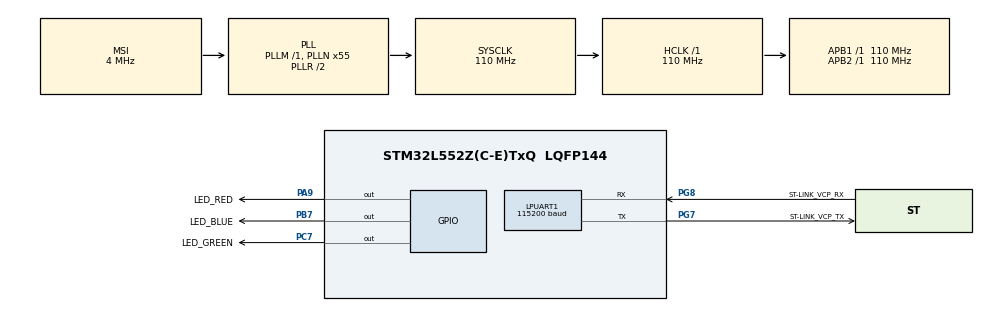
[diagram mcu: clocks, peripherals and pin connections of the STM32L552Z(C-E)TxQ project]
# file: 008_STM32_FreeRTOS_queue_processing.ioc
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LPUART1.BaudRate=115200
Mcu.Family=STM32L5
Mcu.Name=STM32L552Z(C-E)TxQ
Mcu.Package=LQFP144
Mcu.TrustZone=disable
NVIC.LPUART1_IRQn=true\:0\:0\:false\:false\:true\:true\:true
NVIC.PriorityGroup=NVIC_PRIORITYGROUP_3
PA13\ (JTMS/SWDIO).Mode=Trace_Asynchronous_SW
PA13\ (JTMS/SWDIO).Signal=DEBUG_JTMS-SWDIO
PA14\ (JTCK/SWCLK).Mode=Trace_Asynchronous_SW
PA14\ (JTCK/SWCLK).Signal=DEBUG_JTCK-SWCLK
PA9.GPIO_Label=LED_RED
PA9.Signal=GPIO_Output
PB3\ (JTDO/TRACESWO).Mode=Trace_Asynchronous_SW
PB3\ (JTDO/TRACESWO).Signal=DEBUG_JTDO-SWO
PB7.GPIO_Label=LED_BLUE
PB7.Signal=GPIO_Output
PC14-OSC32_IN\ (PC14).Mode=LSE-External-Oscillator
PC14-OSC32_IN\ (PC14).Signal=RCC_OSC32_IN
PC15-OSC32_OUT\ (PC15).Mode=LSE-External-Oscillator
PC15-OSC32_OUT\ (PC15).Signal=RCC_OSC32_OUT
PC7.GPIO_Label=LED_GREEN
PC7.Signal=GPIO_Output
PG7.GPIO_Label=ST-LINK_VCP_TX
PG7.Mode=Asynchronous
PG7.Signal=LPUART1_TX
PG8.GPIO_Label=ST-LINK_VCP_RX
PG8.Mode=Asynchronous
PG8.Signal=LPUART1_RX
ProjectManager.HeapSize=0x200
ProjectManager.StackSize=0x400
ProjectManager.TargetToolchain=STM32CubeIDE
RCC.ADCCLockSelection=RCC_ADCCLKSOURCE_SYSCLK
RCC.ADCFreq_Value=110000000
RCC.AHBFreq_Value=110000000
RCC.APB1Freq_Value=110000000
RCC.APB1TimFreq_Value=110000000
RCC.APB2Freq_Value=110000000
RCC.APB2TimFreq_Value=110000000
RCC.CK48CLockSelection=RCC_USBCLKSOURCE_HSI48
RCC.CortexFreq_Value=110000000
RCC.HCLKFreq_Value=110000000
RCC.HSE_VALUE=8000000
RCC.HSI48_VALUE=48000000
RCC.HSI_VALUE=16000000
RCC.MSI_VALUE=4000000
RCC.PLLN=55
RCC.PLLSAI1N=24
RCC.RTCClockSelection=RCC_RTCCLKSOURCE_LSE
RCC.SYSCLKFreq_VALUE=110000000
RCC.SYSCLKSource=RCC_SYSCLKSOURCE_PLLCLK
RCC.USBFreq_Value=48000000
RCC.VCOOutputFreq_Value=220000000
VP_PWR_VS_DBSignals.Mode=DisableDeadBatterySignals
VP_PWR_VS_SECSignals.Mode=Security/Privilege
VP_RTC_VS_RTC_Activate.Mode=RTC_Enabled
board=NUCLEO-L552ZE-Q

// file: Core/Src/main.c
/* USER CODE BEGIN Header */
/**
 ******************************************************************************
 * @file           : main.c
 * @brief          : Example 008: Queue Processing in FreeRTOS for NUCLEO-L552.
 *
 * @details FreeRTOS application which implements the below commands
 *          LED_ON,
 *          LED_OFF,
 *          LED_TOGGLE_START
 *          LED_TOGGLE_STOP
 *          LED_STATUS_READ
 *          RTC_DATETIME_READ
 *
 *          The command is sent to the board via UART from the user.
 ******************************************************************************
 * @attention
 *
 * <h2><center>&copy; Copyright 2021 Leandro Medus.
 * All rights reserved.</center></h2>
 *
 * Permission is hereby granted, free of charge, to any person obtaining a copy
 * of this software and associated documentation files (the "Software"), to deal
 * in the Software without restriction, including without limitation the rights
 * to use, copy, modify, merge, publish, distribute, sublicense, and/or sell
 * copies of the Software, and to permit persons to whom the Software is
 * furnished to do so, subject to the following conditions:
 *
 * The above copyright notice and this permission notice shall be included in all
 * copies or substantial portions of the Software.
 *
 * THE SOFTWARE IS PROVIDED "AS IS", WITHOUT WARRANTY OF ANY KIND, EXPRESS OR
 * IMPLIED, INCLUDING BUT NOT LIMITED TO THE WARRANTIES OF MERCHANTABILITY,
 * FITNESS FOR A PARTICULAR PURPOSE AND NONINFRINGEMENT. IN NO EVENT SHALL THE
 * AUTHORS OR COPYRIGHT HOLDERS BE LIABLE FOR ANY CLAIM, DAMAGES OR OTHER
 * LIABILITY, WHETHER IN AN ACTION OF CONTRACT, TORT OR OTHERWISE, ARISING FROM,
 * OUT OF OR IN CONNECTION WITH THE SOFTWARE OR THE USE OR OTHER DEALINGS IN THE
 * SOFTWARE.
 *
 ******************************************************************************
 */

/*
 * Other useful functions:
 *
 *      SEGGER_SYSVIEW_PrintfTarget("Task-1 is yielding");
 *      snprintf(msg, 100, "%s\n", (char*)parameters);
 *      sendString(msg);
 *      traceISR_ENTER();
 *      traceISR_EXIT();
 *      traceISR_EXIT_TO_SCHEDULER();
 *      taskYIELD();

 * */

/* USER CODE END Header */
#include "main.h"

/* USER CODE BEGIN Includes */
#include "FreeRTOS.h"
#include "task.h"
#include "queue.h"
#include "timers.h"

#include <stdio.h>
#include <string.h>
//#include <stdbool.h>
/* USER CODE END Includes */

/* USER CODE BEGIN PTD */
#define TRUE                1
#define FALSE               0

#define AVAILABLE           TRUE
#define NOT_AVAILABLE       FALSE

#define PRESSED             TRUE
#define NOT_PRESSED         FALSE

// App commands
#define LED_ON_COMMAND              1
#define LED_OFF_COMMAND             2
#define LED_TOGGLE_COMMAND          3
#define LED_TOGGLE_STOP_COMMAND     4
#define LED_READ_STATUS_COMMAND     5
#define RTC_READ_DATE_TIME_COMMAND  6
#define EXIT_CMD                    0

#define BUFFER_CMD_SIZE             20

#define DEBOUNCE_DELAY_MS   10

#define DWT_CTRL    (*(volatile uint32_t*)0xE0001000)       /* Data Watchpoint and Trace Unit */
/* USER CODE END PTD */

UART_HandleTypeDef hlpuart1;

RTC_HandleTypeDef hrtc;

/* USER CODE BEGIN PV */

char usr_msg[250] = {0};

uint8_t UART_ACCESS_KEY = AVAILABLE;
uint8_t button_status_flag = NOT_PRESSED;

// task handles
TaskHandle_t xTask_menu_dislpay_handle = NULL;
TaskHandle_t xTask_cmd_handling_handle = NULL;
TaskHandle_t xTask_cmd_processing_handle = NULL;
TaskHandle_t xTask_uart_write_handle = NULL;

// Queue handle
QueueHandle_t command_queue = NULL;
QueueHandle_t uart_write_queue = NULL;

// Software timer handler
TimerHandle_t led_timer_handle = NULL;

// Command structure
typedef struct APP_CMD
{
    uint8_t COMMAND_NUM;            // command number of the user
    uint8_t COMMAND_ARGS[10];       // associated argument
}APP_CMD_t;

uint8_t command_buffer[BUFFER_CMD_SIZE];
uint8_t command_len = 0;

//This is the menu
char menu[]={"\
\r\nLED_ON             ----> 1 \
\r\nLED_OFF            ----> 2 \
\r\nLED_TOGGLE         ----> 3 \
\r\nLED_TOGGLE_OFF     ----> 4 \
\r\nLED_READ_STATUS    ----> 5 \
\r\nRTC_PRINT_DATETIME ----> 6 \
\r\nEXIT_APP           ----> 0 \
\r\nType your option here : "};

/* USER CODE END PV */

void SystemClock_Config(void);
static void MX_GPIO_Init(void);
static void MX_LPUART1_UART_Init(void);
static void MX_RTC_Init(void);
/* USER CODE BEGIN PFP */

void sendString(char *msg);
static void vtask_1_menu_display(void* parameters);
static void vtask_2_cmd_handling(void* parameters);
static void vtask_3_cmd_processing(void * parameters);
static void vtask_4_uart_write(void * parameters);
static uint8_t getCommandCode(uint8_t *buffer);
static void getArguments(uint8_t *buffer);

// helper functions
void make_led_on(void);
void make_led_off(void);
void read_led_status(char *task_msg);
void led_toggle_start(uint32_t duration);
void led_toggle_stop(void);
void read_rtc_info(char *task_msg);
void print_error_message(char *task_msg);

/* USER CODE END PFP */

int main(void)
{
    /* USER CODE BEGIN 1 */
    BaseType_t status;

    char msg_program_init [] = "[info] ---- Example 008: Queue Processing in FreeRTOS for NUCLEO-L552. ----\r\n";

    /* USER CODE END 1 */

    /* MCU Configuration--------------------------------------------------------*/

    /* Reset of all peripherals, Initializes the Flash interface and the Systick. */
    HAL_Init();

    /* Configure the system clock */
    SystemClock_Config();

    /* Initialize all configured peripherals */
    MX_GPIO_Init();
    MX_LPUART1_UART_Init();
    MX_RTC_Init();
    /* USER CODE BEGIN 2 */

    DWT_CTRL |= ( 1 << 0);                      // Enable the CYCCNT counter. (to maintain time stamps in Segger)

    sendString(msg_program_init);

    SEGGER_SYSVIEW_Conf();

    SEGGER_SYSVIEW_Start();                     // Start recording with SEGGER

    status = xTaskCreate(
            vtask_1_menu_display,               // name of the task handler
            "TASK-1-MENU",                      // descriptive name. (Could be NULL)
            configMINIMAL_STACK_SIZE,           // stack space ([words] = 4*words [bytes])
            "Task-1 [info]",                    // pvParameters
            1,                                  // priority of the task
            &xTask_menu_dislpay_handle);               // handler to the TCB (task controller block)

    configASSERT(status == pdPASS);

    status = xTaskCreate(
            vtask_2_cmd_handling,
            "TASK-2-CMD-HANDLING",
            configMINIMAL_STACK_SIZE,
            "Task-2 [info]",
            2,
            &xTask_cmd_handling_handle);

    configASSERT(status == pdPASS);

    status = xTaskCreate(
            vtask_3_cmd_processing,
            "TASK-3-CMD-PROCESS",
            configMINIMAL_STACK_SIZE,
            "Task-3 [info]",
            2,
            &xTask_cmd_processing_handle);

    configASSERT(status == pdPASS);

    status = xTaskCreate(
            vtask_4_uart_write,
            "TASK-4-UART-WRITE",
            configMINIMAL_STACK_SIZE,
            "Task-4 [info]",
            2,
            &xTask_uart_write_handle);

    configASSERT(status == pdPASS);

    // Command Queue
    command_queue = xQueueCreate( 10, sizeof(APP_CMD_t *));     // a memory pointer is 4 bytes = 40 bytes instead 110

    // Write Queue
    uart_write_queue = xQueueCreate( 10, sizeof(char *));          // we only need only the staring addr of the msg

    if(command_queue != NULL && uart_write_queue != NULL)
    {
        vTaskStartScheduler();                  // start the freeRTOS scheduler
    }
    else
    {
        sprintf(usr_msg,"Queue creation failed\r\n");
        sendString(usr_msg);
    }

    /* USER CODE END 2 */

    /* Infinite loop */
    /* USER CODE BEGIN WHILE */
    while (1)
    {
        /* Execution must not reach this point */

        /* USER CODE END WHILE */

    }
}

void SystemClock_Config(void)
{
    RCC_OscInitTypeDef RCC_OscInitStruct = {0};
    RCC_ClkInitTypeDef RCC_ClkInitStruct = {0};

    /** Configure the main internal regulator output voltage
     */
    if (HAL_PWREx_ControlVoltageScaling(PWR_REGULATOR_VOLTAGE_SCALE0) != HAL_OK)
    {
        Error_Handler();
    }
    /** Configure LSE Drive Capability
     */
    HAL_PWR_EnableBkUpAccess();
    __HAL_RCC_LSEDRIVE_CONFIG(RCC_LSEDRIVE_LOW);
    /** Initializes the RCC Oscillators according to the specified parameters
     * in the RCC_OscInitTypeDef structure.
     */
    RCC_OscInitStruct.OscillatorType = RCC_OSCILLATORTYPE_LSE|RCC_OSCILLATORTYPE_MSI;
    RCC_OscInitStruct.LSEState = RCC_LSE_ON;
    RCC_OscInitStruct.MSIState = RCC_MSI_ON;
    RCC_OscInitStruct.MSICalibrationValue = RCC_MSICALIBRATION_DEFAULT;
    RCC_OscInitStruct.MSIClockRange = RCC_MSIRANGE_6;
    RCC_OscInitStruct.PLL.PLLState = RCC_PLL_ON;
    RCC_OscInitStruct.PLL.PLLSource = RCC_PLLSOURCE_MSI;
    RCC_OscInitStruct.PLL.PLLM = 1;
    RCC_OscInitStruct.PLL.PLLN = 55;
    RCC_OscInitStruct.PLL.PLLP = RCC_PLLP_DIV7;
    RCC_OscInitStruct.PLL.PLLQ = RCC_PLLQ_DIV2;
    RCC_OscInitStruct.PLL.PLLR = RCC_PLLR_DIV2;
    if (HAL_RCC_OscConfig(&RCC_OscInitStruct) != HAL_OK)
    {
        Error_Handler();
    }
    /** Initializes the CPU, AHB and APB buses clocks
     */
    RCC_ClkInitStruct.ClockType = RCC_CLOCKTYPE_HCLK|RCC_CLOCKTYPE_SYSCLK
            |RCC_CLOCKTYPE_PCLK1|RCC_CLOCKTYPE_PCLK2;
    RCC_ClkInitStruct.SYSCLKSource = RCC_SYSCLKSOURCE_PLLCLK;
    RCC_ClkInitStruct.AHBCLKDivider = RCC_SYSCLK_DIV1;
    RCC_ClkInitStruct.APB1CLKDivider = RCC_HCLK_DIV1;
    RCC_ClkInitStruct.APB2CLKDivider = RCC_HCLK_DIV1;

    if (HAL_RCC_ClockConfig(&RCC_ClkInitStruct, FLASH_LATENCY_5) != HAL_OK)
    {
        Error_Handler();
    }
}

static void MX_LPUART1_UART_Init(void)
{

    hlpuart1.Instance = LPUART1;
    hlpuart1.Init.BaudRate = 115200;
    hlpuart1.Init.WordLength = UART_WORDLENGTH_8B;
    hlpuart1.Init.StopBits = UART_STOPBITS_1;
    hlpuart1.Init.Parity = UART_PARITY_NONE;
    hlpuart1.Init.Mode = UART_MODE_TX_RX;
    hlpuart1.Init.HwFlowCtl = UART_HWCONTROL_NONE;
    hlpuart1.Init.OneBitSampling = UART_ONE_BIT_SAMPLE_DISABLE;
    hlpuart1.Init.ClockPrescaler = UART_PRESCALER_DIV1;
    hlpuart1.AdvancedInit.AdvFeatureInit = UART_ADVFEATURE_NO_INIT;
    hlpuart1.FifoMode = UART_FIFOMODE_DISABLE;
    if (HAL_UART_Init(&hlpuart1) != HAL_OK)
    {
        Error_Handler();
    }
    if (HAL_UARTEx_SetTxFifoThreshold(&hlpuart1, UART_TXFIFO_THRESHOLD_1_8) != HAL_OK)
    {
        Error_Handler();
    }
    if (HAL_UARTEx_SetRxFifoThreshold(&hlpuart1, UART_RXFIFO_THRESHOLD_1_8) != HAL_OK)
    {
        Error_Handler();
    }
    if (HAL_UARTEx_DisableFifoMode(&hlpuart1) != HAL_OK)
    {
        Error_Handler();
    }
    /* USER CODE BEGIN LPUART1_Init 2 */

    // enabling interrupt for the flag
    __HAL_UART_ENABLE_IT(&hlpuart1, UART_IT_RXNE);

    /* USER CODE END LPUART1_Init 2 */

}

static void MX_RTC_Init(void)
{

    RTC_PrivilegeStateTypeDef privilegeState = {0};

    /** Initialize RTC Only
     */
    hrtc.Instance = RTC;
    hrtc.Init.HourFormat = RTC_HOURFORMAT_24;
    hrtc.Init.AsynchPrediv = 127;
    hrtc.Init.SynchPrediv = 255;
    hrtc.Init.OutPut = RTC_OUTPUT_DISABLE;
    hrtc.Init.OutPutRemap = RTC_OUTPUT_REMAP_NONE;
    hrtc.Init.OutPutPolarity = RTC_OUTPUT_POLARITY_HIGH;
    hrtc.Init.OutPutType = RTC_OUTPUT_TYPE_OPENDRAIN;
    hrtc.Init.OutPutPullUp = RTC_OUTPUT_PULLUP_NONE;
    if (HAL_RTC_Init(&hrtc) != HAL_OK)
    {
        Error_Handler();
    }
    privilegeState.rtcPrivilegeFull = RTC_PRIVILEGE_FULL_NO;
    privilegeState.backupRegisterPrivZone = RTC_PRIVILEGE_BKUP_ZONE_NONE;
    privilegeState.backupRegisterStartZone2 = RTC_BKP_DR0;
    privilegeState.backupRegisterStartZone3 = RTC_BKP_DR0;
    if (HAL_RTCEx_PrivilegeModeSet(&hrtc, &privilegeState) != HAL_OK)
    {
        Error_Handler();
    }

}

static void MX_GPIO_Init(void)
{
    GPIO_InitTypeDef GPIO_InitStruct = {0};

    /* GPIO Ports Clock Enable */
    __HAL_RCC_GPIOC_CLK_ENABLE();
    __HAL_RCC_GPIOG_CLK_ENABLE();
    HAL_PWREx_EnableVddIO2();
    __HAL_RCC_GPIOA_CLK_ENABLE();
    __HAL_RCC_GPIOB_CLK_ENABLE();

    /*Configure GPIO pin Output Level */
    HAL_GPIO_WritePin(LED_GREEN_GPIO_Port, LED_GREEN_Pin, GPIO_PIN_RESET);

    /*Configure GPIO pin Output Level */
    HAL_GPIO_WritePin(LED_RED_GPIO_Port, LED_RED_Pin, GPIO_PIN_RESET);

    /*Configure GPIO pin Output Level */
    HAL_GPIO_WritePin(LED_BLUE_GPIO_Port, LED_BLUE_Pin, GPIO_PIN_RESET);

    /*Configure GPIO pin : LED_GREEN_Pin */
    GPIO_InitStruct.Pin = LED_GREEN_Pin;
    GPIO_InitStruct.Mode = GPIO_MODE_OUTPUT_PP;
    GPIO_InitStruct.Pull = GPIO_NOPULL;
    GPIO_InitStruct.Speed = GPIO_SPEED_FREQ_LOW;
    HAL_GPIO_Init(LED_GREEN_GPIO_Port, &GPIO_InitStruct);

    /*Configure GPIO pin : LED_RED_Pin */
    GPIO_InitStruct.Pin = LED_RED_Pin;
    GPIO_InitStruct.Mode = GPIO_MODE_OUTPUT_PP;
    GPIO_InitStruct.Pull = GPIO_NOPULL;
    GPIO_InitStruct.Speed = GPIO_SPEED_FREQ_LOW;
    HAL_GPIO_Init(LED_RED_GPIO_Port, &GPIO_InitStruct);

    /*Configure GPIO pin : LED_BLUE_Pin */
    GPIO_InitStruct.Pin = LED_BLUE_Pin;
    GPIO_InitStruct.Mode = GPIO_MODE_OUTPUT_PP;
    GPIO_InitStruct.Pull = GPIO_NOPULL;
    GPIO_InitStruct.Speed = GPIO_SPEED_FREQ_LOW;
    HAL_GPIO_Init(LED_BLUE_GPIO_Port, &GPIO_InitStruct);

}

/* USER CODE BEGIN 4 */

/* --------------------------------------------------------------------------*/

/**
 * @brief  This function send a string using the UART
 * @retval None
 */
void sendString(char *msg)
{
    sprintf(usr_msg, msg);

    // sending a string
    HAL_UART_Transmit(&hlpuart1, (uint8_t *) usr_msg, strlen(usr_msg), 100);
}

/**
 * @brief Menu display task
 * @details This task writes into the queue all the data to send later by other task to the UART
 *
 * @retval None
 */
static void vtask_1_menu_display(void* parameters)
{
    char *pData = menu;

    while(TRUE)
    {
        xQueueSend(uart_write_queue, &pData, portMAX_DELAY);

        // lets wait here until someone notifies.
        xTaskNotifyWait(0, 0, NULL, portMAX_DELAY);
    }
}

/**
 * @brief Command handling task
 * @details
 *
 * @retval None
 */
static void vtask_2_cmd_handling(void* parameters)
{
    uint8_t command_code = 0;

    APP_CMD_t *new_cmd;

    while(1)
    {
        xTaskNotifyWait(0, 0, NULL, portMAX_DELAY);             // wait for a command

        // 1. send command to queue
        new_cmd = (APP_CMD_t*) pvPortMalloc(sizeof(APP_CMD_t));

        taskENTER_CRITICAL();                                   // entering critical section
        command_code = getCommandCode(command_buffer);
        new_cmd->COMMAND_NUM = command_code;
        getArguments(new_cmd->COMMAND_ARGS);                    // TODO
        taskEXIT_CRITICAL();

        // send the command to the command queue
        xQueueSend(command_queue, &new_cmd, portMAX_DELAY);

    }
}

/**
 * @brief
 * @details
 *
 * @retval None
 */
static void vtask_3_cmd_processing(void * parameters)
{
    APP_CMD_t *new_cmd;
    char task_msg[50];

    uint32_t toggle_duration = pdMS_TO_TICKS(500);

    while(1)
    {
        xQueueReceive(command_queue, (void*) &new_cmd, portMAX_DELAY);

        if(new_cmd->COMMAND_NUM == LED_ON_COMMAND)
        {
            make_led_on();
        }
        else if(new_cmd->COMMAND_NUM == LED_OFF_COMMAND)
        {
            make_led_off();
        }
        else if(new_cmd->COMMAND_NUM == LED_TOGGLE_COMMAND)
        {
            led_toggle_start(toggle_duration);
        }
        else if(new_cmd->COMMAND_NUM == LED_TOGGLE_STOP_COMMAND)
        {
            led_toggle_stop();
        }
        else if(new_cmd->COMMAND_NUM == LED_READ_STATUS_COMMAND)
        {
            read_led_status(task_msg);
        }
        else if(new_cmd->COMMAND_NUM == RTC_READ_DATE_TIME_COMMAND )
        {
            read_rtc_info(task_msg);
        }else if(new_cmd->COMMAND_NUM == EXIT_CMD )
        {
           /* TODO
            * delete all tasks
            * disable interrupts
            * send the uC to low power mode in the idle task
            * */
        }else
        {
            print_error_message(task_msg);
        }

        //  free the allocated memory for the new command
        vPortFree(new_cmd);

    }
}

/**
 * @brief UART write task
 * @details This task send the information from the queue to the UART
 *
 * @retval None
 */
static void vtask_4_uart_write(void * parameters)
{
    char *pData = NULL;

    while(1)
    {
        xQueueReceive(uart_write_queue, &pData, portMAX_DELAY);

        sendString(pData);
    }
}

/**
 * @brief Get command code from buffer
 * @details
 *
 * @retval None
 */
static uint8_t getCommandCode(uint8_t *buffer)
{

    return buffer[0]-48;    // to convert ASCII to a uint8_t
}

/**
 * @brief Get the argument of a command from the buffer
 * @details
 *
 * @retval None
 */
static void getArguments(uint8_t *buffer)
{

}

/**
 * @brief
 * @details
 *
 * @retval None
 */
void vApplicationIdleHook(void)
{
    /*
     * Remember that when you send the uC to sleep mode, you can't get a trace.
     */
}

/**
 * @brief LPUART interrupt service routine when the Rx flag not empy is set
 * @details
 *
 * @retval None
 */
void LPUART_ISR(void)
{
    uint32_t data_byte;
    BaseType_t xHigherPriorityTaskWoken = pdFALSE;

    if( __HAL_UART_GET_FLAG(&hlpuart1, UART_FLAG_RXNE) )     // a data byte is received from the user
    {
        data_byte = (uint32_t) hlpuart1.Instance->RDR;

        command_buffer[command_len++] = (data_byte & 0x000000FF) ;

        if(data_byte == '\r')       // user finished entering the data
        {
            command_len = 0;        // reset the command_len variable

            xTaskNotifyFromISR(xTask_cmd_handling_handle, 0, eNoAction, &xHigherPriorityTaskWoken);     // notify the command handling task
            xTaskNotifyFromISR(xTask_menu_dislpay_handle, 0, eNoAction, &xHigherPriorityTaskWoken);     // notify the menu display task for next iteration
        }
    }

    // if the above FreeRTOS APIs wake up any higher priority task, then yield the processor to the
    // higher priority task which is just woken up.

    if(xHigherPriorityTaskWoken)
    {
        taskYIELD();
    }

}

/**
 * @brief turn on the blue led
 * @details
 *
 * @retval None
 */
void make_led_on(void)
{
    HAL_GPIO_WritePin(LED_BLUE_GPIO_Port, LED_BLUE_Pin, GPIO_PIN_SET);
}

/**
 * @brief turn off the blue led
 * @details
 *
 * @retval None
 */
void make_led_off(void)
{
    HAL_GPIO_WritePin(LED_BLUE_GPIO_Port, LED_BLUE_Pin, GPIO_PIN_RESET);
}

/**
 * @brief toggle the blue led
 * @details
 *
 * @retval None
 */
void led_toggle(TimerHandle_t xTimer)
{
    HAL_GPIO_TogglePin(LED_BLUE_GPIO_Port, LED_BLUE_Pin);
}

/**
 * @brief read the blue led status
 * @details
 *
 * @retval None
 */
void read_led_status(char *task_msg)
{

    sprintf(task_msg , "\r\nLED status is : %d\r\n", HAL_GPIO_ReadPin(LED_BLUE_GPIO_Port, LED_BLUE_Pin));

    xQueueSend(uart_write_queue, &task_msg, portMAX_DELAY);
}

/**
 * @brief start toggling the blue led at a fixed interval by software
 * @details
 *
 * @retval None
 */
void led_toggle_start(uint32_t duration)
{

    if(led_timer_handle == NULL)
    {
        // 1. lets create the software timer
        led_timer_handle = xTimerCreate("LED-TIMER", duration, pdTRUE, NULL, led_toggle);

        // 2. start the software timer
        xTimerStart(led_timer_handle, portMAX_DELAY);
    }
    else
    {
        // start the software timer
        xTimerStart(led_timer_handle, portMAX_DELAY);
    }
}

/**
 * @brief stop toggling the blue led
 * @details
 *
 * @retval None
 */
void led_toggle_stop(void)
{
    xTimerStop(led_timer_handle, portMAX_DELAY);
}

/**
 * @brief read current data and time from the RTC
 * @details
 *
 * @retval None
 */
void read_rtc_info(char *task_msg)
{

    RTC_TimeTypeDef RTC_time;
    RTC_DateTypeDef RTC_date;

    // read time and date from RTC peripheral of the microcontroller
    HAL_RTC_GetTime(&hrtc, &RTC_time, RTC_FORMAT_BIN);
    HAL_RTC_GetDate(&hrtc, &RTC_date, RTC_FORMAT_BIN);

    sprintf(task_msg,"\r\nTime: %02d:%02d:%02d \r\n Date : %02d-%02d-%04d \r\n", \
            RTC_time.Hours, RTC_time.Minutes, RTC_time.Seconds, \
            RTC_date.Date, RTC_date.Month, RTC_date.Year );

    xQueueSend(uart_write_queue,&task_msg,portMAX_DELAY);
}

/**
 * @brief print an error message due to invalid command received
 * @details
 *
 * @retval None
 */
void print_error_message(char *task_msg)
{
    sprintf( task_msg,"\r\nInvalid command received\r\n");
    xQueueSend(uart_write_queue, &task_msg, portMAX_DELAY);
}

/* --------------------------------------------------------------------------*/
/* USER CODE END 4 */

void Error_Handler(void)
{
    /* USER CODE BEGIN Error_Handler_Debug */
    /* User can add his own implementation to report the HAL error return state */
    __disable_irq();
    while (1)
    {
        __NOP();
    }
    /* USER CODE END Error_Handler_Debug */
}

/************************ (C) COPYRIGHT STMicroelectronics *****END OF FILE****/
